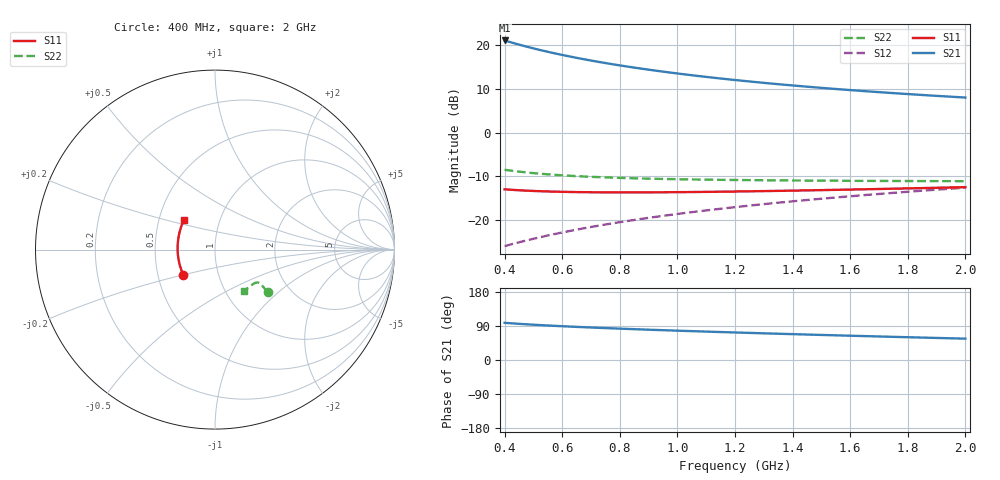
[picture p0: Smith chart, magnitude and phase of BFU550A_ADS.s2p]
! Created Mon Aug  5 12:33:04 2024
# mhz S ma R 50
! 2 Port Network Data from SP1.SP block
! freq  magS11  angS11  magS21  angS21  magS12  angS12  magS22  angS22
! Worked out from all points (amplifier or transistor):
!   65 points, 400 MHz to 2 GHz, reference 50 ohm
!   highest |S21| = 21.0 dB at 400 MHz (marker M1)
!   |S21| within 3 dB of that: start of sweep to 578.5 MHz
!   unconditionally stable (mu >= 1): 872.6 MHz to 1.435 GHz
!   at 650 MHz: K = 0.98, MSG = 19.6 dB, |S12| = -22.1 dB
!   at 1.2 GHz: K = 1.00, MAG = 14.1 dB, |S12| = -17.0 dB
!   at 2 GHz: K = 0.98, MSG = 10.3 dB, |S12| = -12.6 dB
!   lowest NFmin = 0.88 dB at 400 MHz
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400  0.2257 -141.3  11.23 98.1  0.05075 73.6  0.3769 -38.9
425  0.2227 -144.5  10.62 96.7  0.05345 74.0  0.3673 -38.6
450  0.2202 -147.5  10.07 95.5  0.05616 74.2  0.359 -38.4
475  0.218 -150.3  9.571 94.3  0.05889 74.5  0.3517 -38.1
500  0.2162 -153.0  9.121 93.1  0.06163 74.7  0.3452 -37.9
525  0.2146 -155.5  8.711 92.1  0.06438 74.9  0.3395 -37.7
550  0.2133 -157.9  8.336 91.1  0.06715 75.1  0.3344 -37.5
600  0.2113 -162.2  7.676 89.2  0.07271 75.3  0.3259 -37.2
625  0.2105 -164.3  7.383 88.3  0.07551 75.4  0.3222 -37.2
675  0.2094 -168.1  6.861 86.6  0.08112 75.5  0.316 -37.1
725  0.2086 -171.6  6.409 85.0  0.08676 75.6  0.3109 -37.1
800  0.2082 -176.3  5.835 82.7  0.09527 75.5  0.3048 -37.3
875  0.2083 179.3  5.357 80.7  0.1038 75.4  0.3 -37.7
950  0.2089 175.3  4.954 78.7  0.1124 75.2  0.2963 -38.2
1000  0.2094 172.8  4.719 77.4  0.1182 75.0  0.2942 -38.7
1075  0.2106 169.3  4.408 75.6  0.1268 74.7  0.2916 -39.5
1200  0.213 163.8  3.976 72.6  0.1413 74.1  0.2883 -41.0
1325  0.216 158.9  3.626 69.9  0.1559 73.3  0.2858 -42.8
1475  0.2202 153.4  3.286 66.7  0.1734 72.4  0.2836 -45.2
1600  0.2242 149.1  3.053 64.1  0.1881 71.4  0.2821 -47.3
1750  0.2294 144.3  2.818 61.1  0.2058 70.3  0.2808 -50.1
2000  0.2388 137.0  2.509 56.3  0.2354 68.2  0.2792 -55.0
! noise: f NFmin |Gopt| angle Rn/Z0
400  0.88  0.4428  -175.6  0.03837
575  0.8949  0.4668  -172.6  0.0375
750  0.9144  0.4953  -168.7  0.0373
925  0.9378  0.5262  -164.2  0.03863
1100  0.9646  0.5578  -159.2  0.04249
1275  0.9939  0.5889  -153.8  0.04998
1450  1.025  0.6188  -148.3  0.06229
1625  1.058  0.6469  -142.7  0.08063
1800  1.092  0.6733  -137.1  0.1062
2000  1.131  0.7009  -130.9  0.1457
